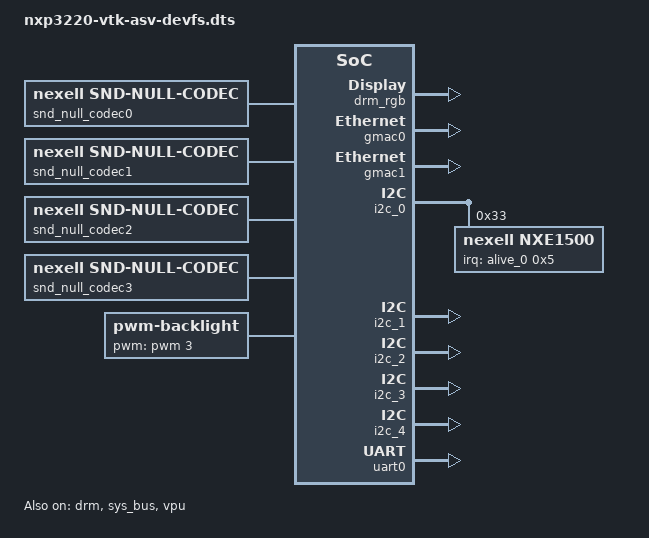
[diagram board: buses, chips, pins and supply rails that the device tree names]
// SPDX-License-Identifier: (GPL-2.0+ OR MIT)
/*
 * Copyright (C) 2018  Nexell Co., Ltd.
 * Author: JungHyun, Kim <jhkim@nexell.co.kr>
 */

/dts-v1/;
#include <dt-bindings/gpio/gpio.h>
#include "nxp3220.dtsi"
#include "nxp3220-vtk-common.dtsi"

#define PMIC_PDATA_INIT(_id, _rname, _minuv,		\
                        _maxuv, _init_uv, _init_enable,	\
                        _set_init_uV, _slp_slots)	\
                regulator-name = _rname;                \
                regulator-min-microvolt = <_minuv>;     \
                regulator-max-microvolt = <_maxuv>;     \
                nx,id = <_id>;                          \
                nx,init_enable = <_init_enable>;        \
                nx,init_uV = <_init_uv>;                \
                nx,set_init_uV = <_set_init_uV>;        \
                nx,sleep_slots = <_slp_slots>;

/ {
	snd_null_codec0:snd_null_codec@0 {
        	 #sound-dai-cells = <0>;
         	compatible = "nexell,snd-null-codec";
         	status = "okay";
	};

	snd_null_codec1:snd_null_codec@1 {
        	 #sound-dai-cells = <0>;
         	compatible = "nexell,snd-null-codec";
         	status = "okay";
	};

	snd_null_codec2:snd_null_codec@2 {
        	 #sound-dai-cells = <0>;
         	compatible = "nexell,snd-null-codec";
         	status = "okay";
	};

	snd_null_codec3:snd_null_codec@3 {
        	 #sound-dai-cells = <0>;
         	compatible = "nexell,snd-null-codec";
         	status = "okay";
	};

	sound0: sound0 {
		compatible = "simple-audio-card";
		simple-audio-card,name = "nxp3220 Audio Card Null0";
		status = "okay";

		simple-audio-card,dai-link@0 {
			mclk-fs = <256>;
			format = "left_j";
			frame-master = <&sndcpu0>;
			bitclock-master = <&sndcpu0>;

			sndcpu0: cpu  {
				sound-dai = <&i2s0 0>;
			};

			sndcodec0: codec {
				sound-dai = <&snd_null_codec0>;
			};
		};
	};

	sound1: sound1 {
		compatible = "simple-audio-card";
		simple-audio-card,name = "nxp3220 Audio Card Null1";
		status = "okay";

		simple-audio-card,dai-link@0 {
			mclk-fs = <256>;
			format = "left_j";
			frame-master = <&sndcodec1>;
			bitclock-master = <&sndcodec1>;

			sndcpu1: cpu  {
				sound-dai = <&i2s1 0>;
			};

			sndcodec1: codec {
				sound-dai = <&snd_null_codec1>;
			};
		};
	};

	sound2: sound2 {
		compatible = "simple-audio-card";
		simple-audio-card,name = "nxp3220 Audio Card Null2";
		status = "okay";

		simple-audio-card,dai-link@0 {
			mclk-fs = <256>;
			format = "left_j";
			frame-master = <&sndcpu2>;
			bitclock-master = <&sndcpu2>;

			sndcpu2: cpu  {
				sound-dai = <&i2s2 0>;
			};

			sndcodec2: codec {
				sound-dai = <&snd_null_codec2>;
			};
		};
	};

	sound3: sound3 {
		compatible = "simple-audio-card";
		simple-audio-card,name = "nxp3220 Audio Card Null3";
		status = "okay";

		simple-audio-card,dai-link@0 {
			mclk-fs = <256>;
			format = "left_j";
			frame-master = <&sndcodec3>;
			bitclock-master = <&sndcodec3>;

			sndcpu3: cpu  {
				sound-dai = <&i2s3 0>;
			};

			sndcodec3: codec {
				sound-dai = <&snd_null_codec3>;
			};
		};
	};

	thermal-zones {
		cpu_thermal: cpu-thermal {
			thermal-sensors = <&tmuctrl_0>;
			polling-delay-passive = <1000>;
			polling-delay = <1000>;
			trips {
				cpu_alert0: cpu-alert-0 {
					temperature = <40000>;
					hysteresis = <10000>;
					type = "passive";
				};
				cpu_alert1: cpu-alert-1 {
					temperature = <50000>;
					hysteresis = <10000>;
					type = "passive";
				};
				cpu_alert2: cpu-alert-2 {
					temperature = <55000>;
					hysteresis = <10000>;
					type = "passive";
				};
				cpu-crit-0 {
					temperature = <65000>;
					hysteresis = <10000>;
					type = "critical";
				};
			};
		};
	};

	timer {
		status = "disabled";
	};

	backlight: pwm-backlight {
		compatible = "pwm-backlight";
		status = "okay";

		pwms = <&pwm 3 25000 0>; /* 40khz=1000000000/25000(period ns) */
		pwm-names = "pwm-backlight";
		brightness-levels = <
			20 21 22 23 24 25 26 27 28 29
			30 31 32 33 34 35 36 37 38 39
			40 41 42 43 44 45 46 47 48 49
			50 51 52 53 54 55 56 57 58 59
			60 61 62 63 64 65 66 67 68 69
			70 71 72 73 74 75 76 77 78 79
			80 81 82 83 84 85 86 87 88 89
			90 91 92 93 94 95 96 97 98 99
			100 101 102 103 104 105 106 107 108 109
			110 111 112 113 114 115 116 117 118 119
			120 121 122 123 124 125 126 127 128 129
			130 131 132 133 134 135 136 137 138 139
			140 141 142 143 144 145 146 147 148 149
			150 151 152 153 154 155 156 157 158 159
			160 161 162 163 164 165 166 167 168 169
			170 171 172 173 174 175 176 177 178 179
			180 181 182 183 184 185 186 187 188 189
			190 191 192 193 194 195 196 197 198 199
			200 201 202 203 204 205 206 207 208 209
			210 211 212 213 214 215 216 217 218 219
			220 221 222 223 224 225 226 227 228 229
			230 231 232 233 234 235 236 237 238 239
			240 241 242 243 244 245 246 247 248 249
			250 251 252 253 254 255
			>;
		default-brightness-level = <230>;
	};

};

&drm {
	status = "okay";
};

&dp_green {
	#if 0
	nexell,pins = "gpioa-8", "gpioa-9", "gpioa-10", "gpioa-11",
		"gpioa-12", "gpiod-0", "gpiod-1", "gpiod-2";
	#else
	nexell,pins = "gpioa-8", "gpioa-9", "gpioa-10", "gpioa-11", "gpioa-12";
	#endif
};

&dp_red{
	#if 0
	nexell,pins = "gpiod-3", "gpiod-4", "gpiod-5", "gpiod-9"
		"gpiod-6", "gpiod-7", "gpiod-8", "gpioa-18";
	#else
	nexell,pins = "gpiod-18";
	#endif
};

&drm_rgb {
	status = "okay";
        backlight = <&backlight>;
	enable-gpios = <&gpio_c 13 GPIO_ACTIVE_HIGH>;
	display-timing {
		clock-frequency = <24500000>;
		hactive = <800>;
		hfront-porch = <8>;
		hback-porch = <13>;
		hsync-len = <3>;
		vactive = <480>;
		vfront-porch = <5>;
		vback-porch = <7>;
		vsync-len = <1>;
	};
};

&gmac0 {
	/* conflict USB NFS */
	status = "okay"; /* disabled */
};

&gmac1 {
	/* conflict USB NFS */
	status = "okay"; /* disabled */
};

&i2c_0 {
	status = "okay";
	#address-cells = <1>;
	#size-cells = <0>;

	nxe1500: nxe1500@33 {
		compatible = "nexell,nxe1500";
		interrupt-parent = <&alive_0>;
		interrupts = <0x5 IRQ_TYPE_EDGE_FALLING>;
		pinctrl-names = "default";
		pinctrl-0 = <&pmic_irq>;
		reg = <0x33>;

		regulators {
			VCC_DCDC0: dcdc1 {
					PMIC_PDATA_INIT( 0,
					"nxe1500_dcdc1",
					600000, 1400000,
					1100000, 1, 0, 0x4)
					regulator-always-on;
					regulator-boot-on;
				};

			VCC_DCDC1: dcdc2 {
					PMIC_PDATA_INIT( 1,
					"nxe1500_dcdc2",
					600000, 1400000,
					1000000, 1, 0, 0x4)
					regulator-always-on;
					regulator-boot-on;
				};

			VCC_DCDC2: dcdc3 {
					PMIC_PDATA_INIT( 2,
					"nxe1500_dcdc3",
					1500000, 1500000,
					1500000, 1, 0, 0xF)
					regulator-always-on;
					regulator-boot-on;
				};

			VCC_DCDC3: dcdc4 {
					PMIC_PDATA_INIT( 3,
					"nxe1500_dcdc4",
					1500000, 1500000,
					1500000, 1, 0, 0xF)
					regulator-always-on;
					regulator-boot-on;
				};

			VCC_LDO0: ldo1 {
					PMIC_PDATA_INIT( 5,
					"nxe1500_ldo1",
					3300000, 3300000,
					3300000, 1, 0, 0x2)
					regulator-boot-on;
				};

			VCC_LDO1: ldo2 {
					PMIC_PDATA_INIT( 6,
					"nxe1500_ldo2",
					1800000, 1800000,
					1800000, 1, 0, 0x3)
					regulator-boot-on;
				};

			VCC_LDO2: ldo3 { PMIC_PDATA_INIT( 7,
					"nxe1500_ldo3",
					3300000, 3300000,
					3300000, 1, 0, 0x2)
					regulator-always-on;
					regulator-boot-on;
				};

			VCC_LDO3: ldo4 {
					PMIC_PDATA_INIT( 8,
					"nxe1500_ldo4",
					1500000, 1500000,
					1500000, 1, 0, 0x3)
					regulator-always-on;
					regulator-boot-on;
				};

			VCC_LDO4: ldo5 {
					PMIC_PDATA_INIT( 9,
					"nxe1500_ldo5",
					1000000, 1000000,
					1000000, 1, 0, 0x4)
					regulator-boot-on;
				};

			VCC_RTC0: ldortc1 {
					PMIC_PDATA_INIT(15,
					"nxe1500_rtc1",
					1700000, 3500000,
					1800000, 1, 1, 0xF)
					regulator-always-on;
					regulator-boot-on;
				};

			VCC_RTC1: ldortc2 {
					PMIC_PDATA_INIT(16,
					"nxe1500_rtc2",
					1000000, 3500000,
					1000000, 1, 1, 0xF)
					regulator-always-on;
					regulator-boot-on;
				};

		}; /* regulators */
	}; /* nxe1500@33 */
};

&i2c_1 {
        status = "okay";
        #address-cells = <1>;
        #size-cells = <0>;
        samsung,i2c-sda-delay = <100>;
        samsung,i2c-max-bus-freq = <100000>;
};

&i2c_2 {
	status = "okay";
	#address-cells = <1>;
	#size-cells = <0>;

	/delete-property/pinctrl-0;
	/delete-property/alc5623_0;
};

&i2c_3 {
	status = "okay";
	#address-cells = <1>;
	#size-cells = <0>;

	/delete-property/pinctrl-0;
	/delete-property/alc5623_1;
};

&i2c_4 {
	status = "okay";
	#address-cells = <1>;
	#size-cells = <0>;

	/delete-property/pinctrl-0;
	/delete-property/alc5623_2;
};

&i2s2 {
	/delete-property/pinctrl-0;
};

&pinctrl_0 {
	pmic_irq: sm5011-irq {
		nexell,pins = "alive-1";
		nexell,pin-function = <NX_PIN_FUNC0>;
		nexell,pin-pull = <NX_PIN_PULL_NONE>;
		nexell,pin-strength = <NX_PIN_STR0>;
	};

	cfg_wlanhostwake: cfg-wlanhostwake {
		nexell,pins = "alive-3";
		nexell,pin-function = <NX_PIN_FUNC0>;
		nexell,pin-pull = <NX_PIN_PULL_UP>;
		nexell,pin-strength = <NX_PIN_STR0>;
	};
};

&pwm {
	nexell,pwm-outputs = <0>, <1>, <2>, <3>;
	tclk_freq = <100000000>, <100000000>, <100000000>, <100000000>;
};

&uart0 {
	status = "okay";
};

&sys_bus {
	status = "okay";
	vdd-supply = <&VCC_DCDC1>; /* "VDD_CORE_1P0" */
};

&vpu {
	status = "okay";
};
